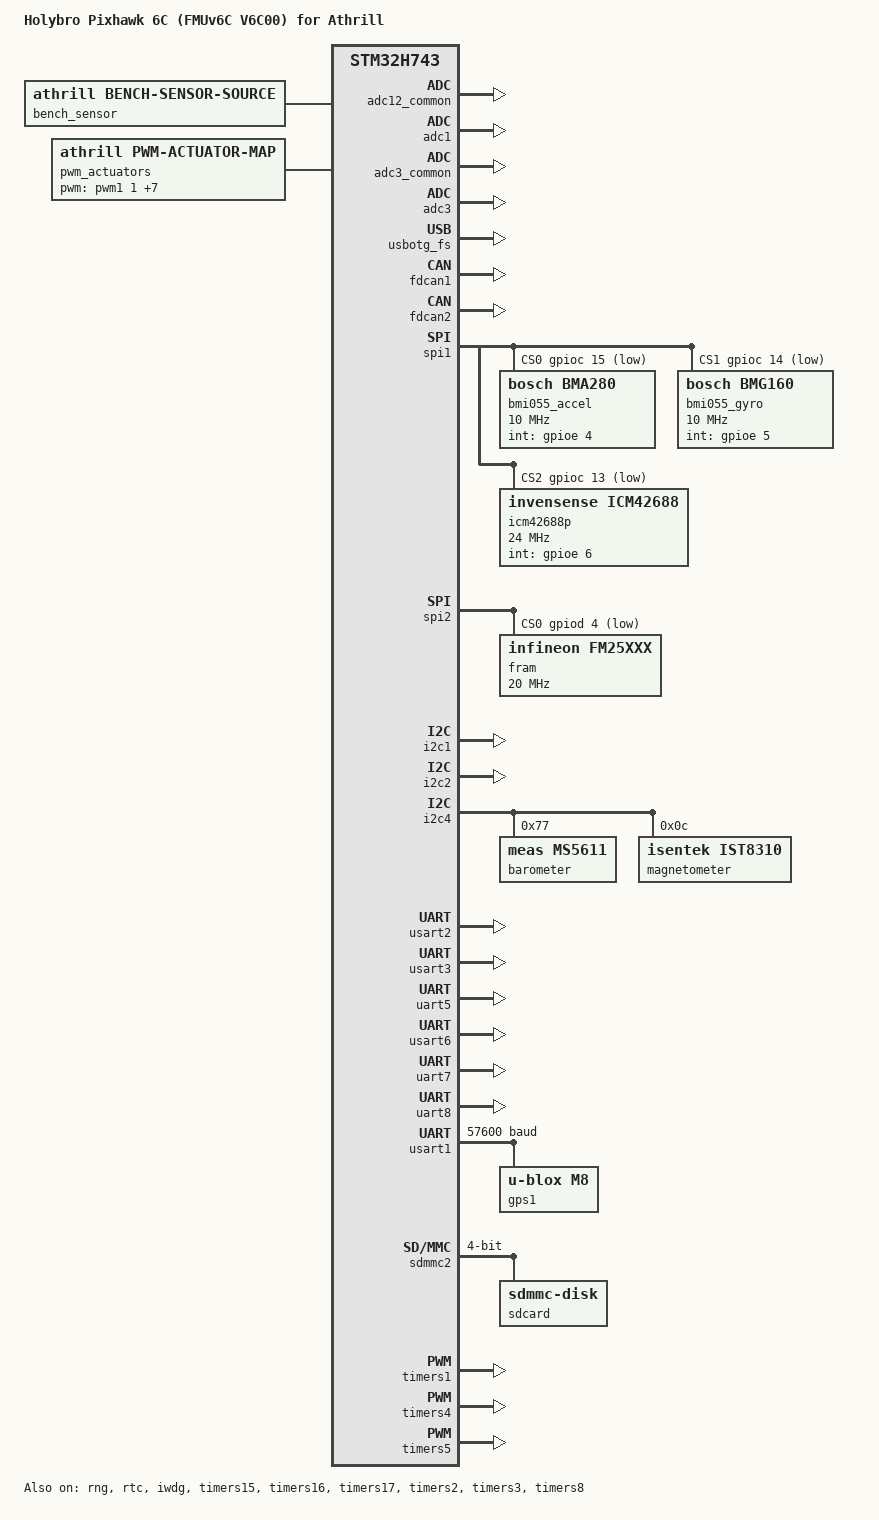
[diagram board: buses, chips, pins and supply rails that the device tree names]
/* SPDX-License-Identifier: MIT */

/*
 * Athrill Holybro Pixhawk 6C / FMUv6C V6C00 board description.
 *
 * SoC description: Zephyr stm32h743Xi.dtsi, Apache-2.0, through
 * stm32h743-athrill.dtsi at revision
 * f3fc249035296b87c75fa808b3abf78829fe9378.
 *
 * Board wiring facts (no source code copied) come from the BSD-3-Clause
 * PX4-Autopilot v1.17.0 files:
 *   boards/px4/fmu-v6c/src/spi.cpp
 *   boards/px4/fmu-v6c/src/i2c.cpp
 *   boards/px4/fmu-v6c/src/timer_config.cpp
 *   boards/px4/fmu-v6c/init/rc.board_sensors
 *   boards/px4/fmu-v6c/default.px4board
 *   boards/px4/fmu-v6c/nuttx-config/nsh/defconfig
 *   boards/px4/fmu-v6c/nuttx-config/include/board.h
 *   boards/px4/fmu-v6c/nuttx-config/include/board_dma_map.h
 *   boards/px4/fmu-v6c/src/board_config.h
 *   src/drivers/uavcan/uavcan_drivers/stm32h7/driver/src/uc_stm32h7_clock.cpp
 */

/dts-v1/;

#include "stm32h743-athrill.dtsi"
#include <zephyr/dt-bindings/gpio/gpio.h>
#include <zephyr/dt-bindings/dma/stm32_dma.h>

/ {
	model = "Holybro Pixhawk 6C (FMUv6C V6C00) for Athrill";
	compatible = "holybro,pixhawk6c", "st,stm32h743";

	aliases {
		gnss0 = &gps1;
	};

	/* The values of the chips, the GPS and the actuator outputs when no
	 * simulator feeds them: constant, or the bench at Tokyo Station with
	 * DEVICE_CONFIG_STM32_SENSOR_BENCH 1 (athrill-device
	 * src/models/bench_sensor.c). The Hakoniwa board file points them at
	 * the Hakoniwa sensor device instead. */
	bench_sensor: bench-sensor-source {
		compatible = "athrill,bench-sensor-source";
	};

	hakoniwa_sensor: sensor-device {
		compatible = "hakoniwa,sensor-device";
		status = "disabled";
	};

	/* FMU outputs 1..8 in firmware output order. */
	pwm_actuators: pwm-actuator-map {
		compatible = "athrill,pwm-actuator-map";
		pwms = <&pwm1 1 20000000 0>,
		       <&pwm1 2 20000000 0>,
		       <&pwm1 3 20000000 0>,
		       <&pwm1 4 20000000 0>,
		       <&pwm4 3 20000000 0>,
		       <&pwm4 4 20000000 0>,
		       <&pwm5 1 20000000 0>,
		       <&pwm5 2 20000000 0>;
		pwm-names = "FMU_CH1", "FMU_CH2", "FMU_CH3", "FMU_CH4",
			    "FMU_CH5", "FMU_CH6", "FMU_CH7", "FMU_CH8";
		athrill,output-pins = "PA8", "PE11", "PE13", "PE14",
				      "PD14", "PD15", "PA0", "PA1";
	};

	soc {
		/* Boot-time H743 fabric registers not described by the upstream DTSI. */
		syscfg: system-config@58000400 {
			compatible = "st,stm32h7-syscfg";
			reg = <0x58000400 0x400>;
		};
	};
};

/* FMUv6C allocates transfers on DMA1/2; startup also resets BDMA/DMAMUX2. */
&dma1 { status = "okay"; };
&dma2 { status = "okay"; };
&dmamux1 { status = "okay"; };
&bdma1 { status = "okay"; };
&dmamux2 { status = "okay"; };

/* Boot-time peripherals touched by PX4 or ArduPilot on this board. */
&adc12_common { status = "okay"; };
&adc1 { status = "okay"; };
&adc3_common { status = "okay"; };
&adc3 { status = "okay"; };
&rng { status = "okay"; };
&rtc { status = "okay"; };
&iwdg { status = "okay"; };
&usbotg_fs { status = "okay"; };
&fdcan1 {
	status = "okay";
	/* STM32H743 FDCAN1 registers plus the shared 2560-word message RAM. */
	reg = <0x4000a000 0x400>, <0x4000ac00 0x2800>;
};
&fdcan2 {
	status = "okay";
	/* The shared message RAM is owned by fdcan1 above. */
	reg = <0x4000a400 0x400>;
};

/*
 * DMA request wiring (dmas): the DMAMUX1 request line of each peripheral
 * (RM0433, the DMAMUX1 input assignment table). DMAMUX1 routes a request to any
 * DMA1/DMA2 stream the firmware selects, so the channel cell (0) is not a
 * wiring fact: the routing is the firmware's DMAMUX setting.
 */

/* V6C00 internal sensor bus: accel PC15, gyro PC14, ICM PC13. */
&spi1 {
	status = "okay";
	cs-gpios = <&gpioc 15 GPIO_ACTIVE_LOW>,
		   <&gpioc 14 GPIO_ACTIVE_LOW>,
		   <&gpioc 13 GPIO_ACTIVE_LOW>;
	dmas = <&dmamux1 0 38 STM32_DMA_PERIPH_TX>,
	       <&dmamux1 0 37 STM32_DMA_PERIPH_RX>;
	dma-names = "tx", "rx";

	bmi055_accel: accelerometer@0 {
		compatible = "bosch,bma280";
		reg = <0>;
		spi-max-frequency = <10000000>;
		int-gpios = <&gpioe 4 GPIO_ACTIVE_HIGH>;
		athrill,mount-rotation = "yaw-180";
	};

	bmi055_gyro: gyroscope@1 {
		compatible = "bosch,bmg160";
		reg = <1>;
		spi-max-frequency = <10000000>;
		int-gpios = <&gpioe 5 GPIO_ACTIVE_HIGH>;
		athrill,mount-rotation = "yaw-180";
	};

	icm42688p: imu@2 {
		compatible = "invensense,icm42688", "invensense,icm4268x";
		reg = <2>;
		spi-max-frequency = <24000000>;
		int-gpios = <&gpioe 6 GPIO_ACTIVE_HIGH>;
		athrill,mount-rotation = "yaw-270";
	};
};

/* Parameter F-RAM on SPI2, CS PD4. */
&spi2 {
	status = "okay";
	cs-gpios = <&gpiod 4 GPIO_ACTIVE_LOW>;
	dmas = <&dmamux1 0 40 STM32_DMA_PERIPH_TX>,
	       <&dmamux1 0 39 STM32_DMA_PERIPH_RX>;
	dma-names = "tx", "rx";

	fram: fram@0 {
		compatible = "infineon,fm25xxx";
		reg = <0>;
		spi-max-frequency = <20000000>;
		size = <32768>;
	};
};

/*
 * The external I2C buses PX4 v1.17.0 scans on FMUv6C (i2c.cpp: external 1,
 * 2, 4), with nothing on them; I2C4 below carries the internal chips.
 */
&i2c1 { status = "okay"; };
&i2c2 { status = "okay"; };

/* V6C00 internal barometer and magnetometer are on I2C4. */
&i2c4 {
	status = "okay";

	barometer: pressure@77 {
		compatible = "meas,ms5611";
		reg = <0x77>;
	};

	magnetometer: magnetometer@c {
		compatible = "isentek,ist8310";
		reg = <0x0c>;
		athrill,mount-rotation = "none";
	};
};

/*
 * The other USART/UARTs PX4 v1.17.0 enables on FMUv6C (nuttx-config/nsh/
 * defconfig: USART2, USART3 (the console), UART5, USART6, UART7, UART8),
 * with nothing on them.
 */
&usart2 {
	status = "okay";
	dmas = <&dmamux1 0 44 STM32_DMA_PERIPH_TX>,
	       <&dmamux1 0 43 STM32_DMA_PERIPH_RX>;
	dma-names = "tx", "rx";
};
&usart3 {
	status = "okay";
	dmas = <&dmamux1 0 46 STM32_DMA_PERIPH_TX>,
	       <&dmamux1 0 45 STM32_DMA_PERIPH_RX>;
	dma-names = "tx", "rx";
};
&uart5 {
	status = "okay";
	dmas = <&dmamux1 0 66 STM32_DMA_PERIPH_TX>,
	       <&dmamux1 0 65 STM32_DMA_PERIPH_RX>;
	dma-names = "tx", "rx";
};
&usart6 {
	status = "okay";
	dmas = <&dmamux1 0 72 STM32_DMA_PERIPH_TX>,
	       <&dmamux1 0 71 STM32_DMA_PERIPH_RX>;
	dma-names = "tx", "rx";
};
&uart7 {
	status = "okay";
	dmas = <&dmamux1 0 80 STM32_DMA_PERIPH_TX>,
	       <&dmamux1 0 79 STM32_DMA_PERIPH_RX>;
	dma-names = "tx", "rx";
};
&uart8 {
	status = "okay";
	dmas = <&dmamux1 0 82 STM32_DMA_PERIPH_TX>,
	       <&dmamux1 0 81 STM32_DMA_PERIPH_RX>;
	dma-names = "tx", "rx";
};

/* GPS1 is /dev/ttyS0. */
&usart1 {
	status = "okay";
	current-speed = <57600>;
	dmas = <&dmamux1 0 42 STM32_DMA_PERIPH_TX>,
	       <&dmamux1 0 41 STM32_DMA_PERIPH_RX>;
	dma-names = "tx", "rx";

	gps1: gnss {
		compatible = "u-blox,m8";
		initial-baudrate = <9600>;
		fix-rate = <200>;
	};
};

&sdmmc2 {
	status = "okay";
	bus-width = <4>;

	sdcard: sd-card {
		compatible = "zephyr,sdmmc-disk";
		disk-name = "SD";
		status = "okay";
	};
};

/*
 * TIM1 drives motors 1-4 (CH1-CH4). For DShot, PX4 v1.17.0 (timer_config.cpp
 * DMA{Index1}, dshot.c) bursts CCR1-CCR4 through DMAR on the update DMA
 * request, routed by DMAMUX1 (request 15, TIM1_UP; RM0433 DMAMUX1 table) to a
 * DMA1 stream it allocates. The configuration cell is PX4's stream setup
 * (32-bit memory to peripheral, high priority). With PWM PX4 never sets UDE,
 * so the request is never raised.
 */
&timers1 {
	status = "okay";
	dmas = <&dmamux1 0 15 (STM32_DMA_PERIPH_TX | STM32_DMA_MEM_32BITS |
			       STM32_DMA_PERIPH_32BITS | STM32_DMA_PRIORITY_HIGH)>;
	dma-names = "up";
	pwm1: pwm { status = "okay"; };
};

&timers4 {
	status = "okay";
	pwm4: pwm { status = "okay"; };
};

&timers5 {
	status = "okay";
	pwm5: pwm { status = "okay"; };
};

/* Keep H743-only allocation visible, including the corrected IRQs. */
&timers15 { status = "okay"; };
&timers16 { status = "okay"; };
&timers17 { status = "okay"; };

/*
 * The other timers PX4 v1.17.0 drives on FMUv6C (board_config.h,
 * uc_stm32h7_clock.cpp): TIM2 is the UAVCAN clock, TIM3 the tone alarm
 * (TONE_ALARM_TIMER 3) and TIM8 the HRT (HRT_TIMER 8).
 */
&timers2 { status = "okay"; };
&timers3 { status = "okay"; };
&timers8 { status = "okay"; };

/* Their values: the bench sensor source above. */
&pwm_actuators { value-source = <&bench_sensor>; };
&bmi055_accel { value-source = <&bench_sensor>; };
&bmi055_gyro { value-source = <&bench_sensor>; };
&icm42688p { value-source = <&bench_sensor>; };
&barometer { value-source = <&bench_sensor>; };
&magnetometer { value-source = <&bench_sensor>; };
&gps1 { value-source = <&bench_sensor>; };
